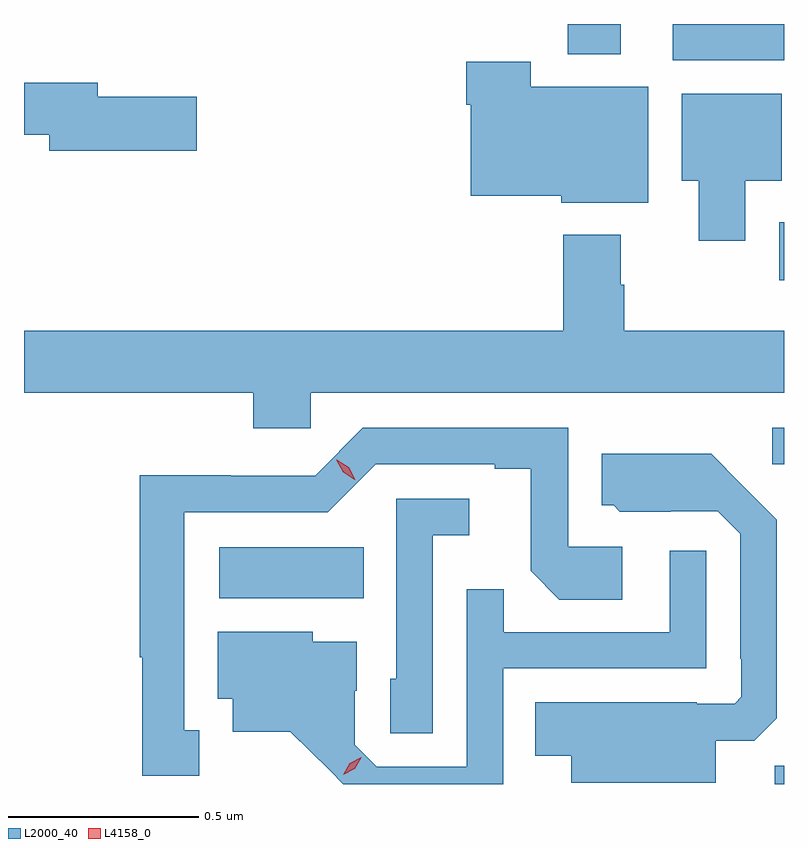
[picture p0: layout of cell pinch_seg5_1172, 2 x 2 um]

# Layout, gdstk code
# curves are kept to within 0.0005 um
import gdstk
lib = gdstk.Library(unit=1e-6, precision=1e-09)
def R(c, l, rs):  # rectangles x0, y0, x1, y1
    for r in rs: c.add(gdstk.rectangle(r[:2], r[2:], *l))
def P(c, l, *ps):  # polygons
    for p in ps: c.add(gdstk.Polygon(p, *l))
L2000_40 = (2000, 40)
L4158_0 = (4158, 0)

pinch_seg5_1172 = lib.new_cell('pinch_seg5_1172')
R(pinch_seg5_1172, L2000_40, [(790.63,842.411,790.654,842.459), (789.168,842.9,789.548,843.034), (790.623,843.252,790.654,843.348), (790.641,843.737,790.654,843.889), (790.361,844.316,790.654,844.411), (790.085,844.331,790.225,844.411)])
P(pinch_seg5_1172, L2000_40, [(790.297,844.246),(789.988,844.246),(789.988,844.312),(789.818,844.312),(789.818,844.199),(789.83,844.199),(789.83,843.959),(790.068,843.959),(790.068,843.941),(790.297,843.941)],
  [(789.109,844.22),(788.848,844.22),(788.848,844.256),(788.654,844.256),(788.654,844.12),(788.72,844.12),(788.72,844.078),(789.109,844.078)],
  [(790.552,843.998),(790.648,843.998),(790.648,844.228),(790.385,844.228),(790.385,843.998),(790.43,843.998),(790.43,843.84),(790.552,843.84)],
  [(789.408,843.44),(790.654,843.44),(790.654,843.604),(790.233,843.604),(790.233,843.725),(790.225,843.725),(790.225,843.856),(790.073,843.856),(790.073,843.604),(788.654,843.604),(788.654,843.44),(789.257,843.44),(789.257,843.347),(789.408,843.347)],
  [(789.115,842.553),(789.076,842.553),(789.076,843.126),(789.453,843.126),(789.579,843.252),(789.893,843.252),(789.893,843.24),(789.987,843.24),(789.987,842.972),(790.063,842.896),(790.228,842.896),(790.228,843.036),(790.086,843.036),(790.086,843.348),(789.546,843.348),(789.42,843.222),(789.198,843.222),(789.198,843.224),(788.958,843.224),(788.958,842.745),(788.965,842.745),(788.965,842.433),(789.115,842.433)],
  [(790.474,842.525),(790.576,842.525),(790.635,842.584),(790.635,843.106),(790.463,843.28),(790.175,843.28),(790.175,843.144),(790.206,843.144),(790.222,843.128),(790.356,843.128),(790.356,843.129),(790.479,843.129),(790.539,843.069),(790.539,842.74),(790.542,842.74),(790.542,842.64),(790.524,842.622),(790.424,842.622),(790.424,842.626),(790,842.626),(790,842.486),(790.094,842.486),(790.094,842.414),(790.474,842.414)],
  [(789.729,843.065),(789.826,843.065),(789.826,843.162),(789.633,843.162),(789.633,842.688),(789.618,842.688),(789.618,842.545),(789.729,842.545)],
  [(789.915,842.715),(790.449,842.715),(790.449,843.025),(790.353,843.025),(790.353,842.811),(789.917,842.811),(789.917,842.924),(789.819,842.924),(789.819,842.457),(789.582,842.457),(789.525,842.514),(789.525,842.656),(789.529,842.656),(789.529,842.785),(789.414,842.785),(789.414,842.812),(789.164,842.812),(789.164,842.636),(789.203,842.636),(789.203,842.549),(789.355,842.549),(789.494,842.411),(789.915,842.411)])
P(pinch_seg5_1172, L4158_0, [(789.494,842.436),(789.494,842.436),(789.511,842.465),(789.542,842.481),(789.542,842.481),(789.542,842.48),(789.525,842.451),(789.494,842.436)],
  [(789.525,843.212),(789.494,843.231),(789.476,843.264),(789.476,843.264),(789.477,843.264),(789.508,843.245),(789.526,843.212),(789.526,843.212)])

lib.write_gds('pinch_seg5_1172.gds')
